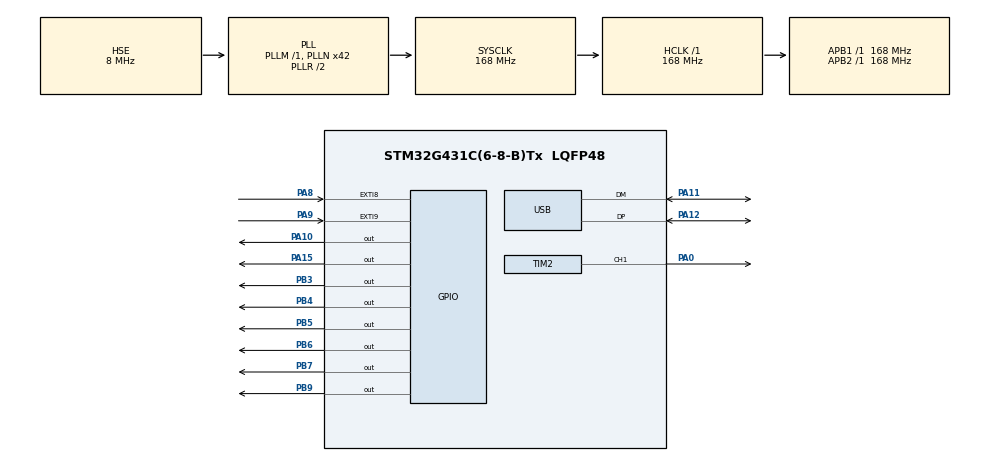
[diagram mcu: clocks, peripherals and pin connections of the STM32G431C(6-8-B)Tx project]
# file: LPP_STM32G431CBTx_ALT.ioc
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Dma.MEMTOMEM.0.Direction=DMA_MEMORY_TO_MEMORY
Dma.MEMTOMEM.0.EventEnable=DISABLE
Dma.MEMTOMEM.0.Instance=DMA1_Channel1
Dma.MEMTOMEM.0.MemDataAlignment=DMA_MDATAALIGN_BYTE
Dma.MEMTOMEM.0.MemInc=DMA_MINC_ENABLE
Dma.MEMTOMEM.0.Mode=DMA_NORMAL
Dma.MEMTOMEM.0.PeriphDataAlignment=DMA_PDATAALIGN_BYTE
Dma.MEMTOMEM.0.PeriphInc=DMA_PINC_ENABLE
Dma.MEMTOMEM.0.Polarity=HAL_DMAMUX_REQ_GEN_RISING
Dma.MEMTOMEM.0.Priority=DMA_PRIORITY_LOW
Dma.MEMTOMEM.0.RequestNumber=1
Dma.MEMTOMEM.0.SignalID=NONE
Dma.MEMTOMEM.0.SyncEnable=DISABLE
Dma.MEMTOMEM.0.SyncPolarity=HAL_DMAMUX_SYNC_NO_EVENT
Dma.MEMTOMEM.0.SyncRequestNumber=1
Dma.MEMTOMEM.0.SyncSignalID=NONE
Dma.Request0=MEMTOMEM
Mcu.Family=STM32G4
Mcu.Name=STM32G431C(6-8-B)Tx
Mcu.Package=LQFP48
NVIC.DMA1_Channel1_IRQn=true\:2\:0\:true\:false\:true\:true\:true\:true
NVIC.EXTI9_5_IRQn=true\:1\:0\:true\:false\:true\:true\:true\:true
NVIC.PriorityGroup=NVIC_PRIORITYGROUP_4
NVIC.TIM2_IRQn=true\:4\:0\:true\:false\:true\:true\:true\:true
NVIC.TIM3_IRQn=true\:1\:0\:true\:false\:true\:true\:true\:true
NVIC.TIM4_IRQn=true\:2\:0\:true\:false\:true\:true\:true\:true
NVIC.USB_LP_IRQn=true\:0\:0\:false\:false\:true\:false\:true\:true
PA0.Signal=S_TIM2_CH1
PA10.GPIO_PuPd=GPIO_PULLDOWN
PA10.Signal=GPIO_Output
PA11.Mode=Device
PA11.Signal=USB_DM
PA12.Mode=Device
PA12.Signal=USB_DP
PA13.Mode=Serial_Wire
PA13.Signal=SYS_JTMS-SWDIO
PA14.Mode=Serial_Wire
PA14.Signal=SYS_JTCK-SWCLK
PA15.Signal=GPIO_Output
PA8.GPIO_ModeDefaultEXTI=GPIO_MODE_IT_RISING_FALLING
PA8.Signal=GPXTI8
PA9.GPIO_ModeDefaultEXTI=GPIO_MODE_IT_RISING_FALLING
PA9.Signal=GPXTI9
PB3.Signal=GPIO_Output
PB4.Signal=GPIO_Output
PB5.Signal=GPIO_Output
PB6.Signal=GPIO_Output
PB7.GPIO_FM7=SYSCFG_FASTMODEPLUS_PB7
PB7.Signal=GPIO_Output
PB9.Signal=GPIO_Output
PC14-OSC32_IN.Mode=LSE-External-Oscillator
PC14-OSC32_IN.Signal=RCC_OSC32_IN
PC15-OSC32_OUT.Mode=LSE-External-Oscillator
PC15-OSC32_OUT.Signal=RCC_OSC32_OUT
PF0-OSC_IN.Mode=HSE-External-Oscillator
PF0-OSC_IN.Signal=RCC_OSC_IN
PF1-OSC_OUT.Mode=HSE-External-Oscillator
PF1-OSC_OUT.Signal=RCC_OSC_OUT
ProjectManager.HeapSize=0x200
ProjectManager.StackSize=0x400
ProjectManager.TargetToolchain=MDK-ARM V5.32
RCC.ADC12Freq_Value=168000000
RCC.AHBFreq_Value=168000000
RCC.APB1Freq_Value=168000000
RCC.APB1TimFreq_Value=168000000
RCC.APB2Freq_Value=168000000
RCC.APB2TimFreq_Value=168000000
RCC.CK48CLockSelection=RCC_USBCLKSOURCE_HSI48
RCC.CortexFreq_Value=168000000
RCC.EXTERNAL_CLOCK_VALUE=12288000
RCC.HCLKFreq_Value=168000000
RCC.HSE_VALUE=8000000
RCC.HSI48_VALUE=48000000
RCC.HSI_VALUE=16000000
RCC.PLLN=42
RCC.PLLSourceVirtual=RCC_PLLSOURCE_HSE
RCC.SYSCLKFreq_VALUE=168000000
RCC.SYSCLKSource=RCC_SYSCLKSOURCE_PLLCLK
RCC.USBFreq_Value=48000000
RCC.VCOOutputFreq_Value=336000000
SH.S_TIM2_CH1.0=TIM2_CH1,PWM Generation1 CH1
TIM2.Channel-PWM\ Generation1\ CH1=TIM_CHANNEL_1
TIM2.PeriodNoDither=100
TIM3.Prescaler=160
TIM4.PeriodNoDither=10000
TIM4.Prescaler=160
USB_DEVICE.CLASS_NAME_FS=CUSTOM_HID
USB_DEVICE.CUSTOM_HID_FS_BINTERVAL=1
USB_DEVICE.PID_CUSTOMHID_FS=0x573c
USB_DEVICE.USBD_CUSTOMHID_OUTREPORT_BUF_SIZE=64
USB_DEVICE.USBD_CUSTOM_HID_REPORT_DESC_SIZE=34
USB_DEVICE.USBD_LPM_ENABLED=0
USB_DEVICE.VID=0x462
USB_DEVICE.VirtualMode=CustomHid
USB_DEVICE.VirtualModeFS=Custom_Hid_FS
VP_SYS_VS_DBSignals.Mode=DisableDeadBatterySignals
VP_TIM2_VS_ClockSourceINT.Mode=Internal
VP_TIM3_VS_ClockSourceINT.Mode=Internal
VP_TIM4_VS_ClockSourceINT.Mode=Internal
VP_TIM4_VS_OPM.Mode=OPM_bit
VP_USB_DEVICE_VS_USB_DEVICE_CUSTOM_HID_FS.Mode=CUSTOM_HID_FS
board=custom

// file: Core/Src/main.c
/* USER CODE BEGIN Header */
/**
 ******************************************************************************
 * @file           : main.c
 * @brief          : Main program body
 ******************************************************************************
 * @attention
 *
 * Copyright (c) 2025 STMicroelectronics.
 * All rights reserved.
 *
 * This software is licensed under terms that can be found in the LICENSE file
 * in the root directory of this software component.
 * If no LICENSE file comes with this software, it is provided AS-IS.
 *
 ******************************************************************************
 */
/* USER CODE END Header */
#include "main.h"

#include "usb_device.h"

/* USER CODE BEGIN Includes */

#include <math.h>
#include <stdbool.h>

#include "counter.h"
#include "lpp_sdk.h"
#include "stdio.h"

/* USER CODE END Includes */

TIM_HandleTypeDef htim2;
TIM_HandleTypeDef htim3;
TIM_HandleTypeDef htim4;

DMA_HandleTypeDef hdma_memtomem_dma1_channel1;
/* USER CODE BEGIN PV */

void XferCpltCallback(DMA_HandleTypeDef* hdma);

// ============================================================================
// Сигнатура и версия прошивки (APP)
// ============================================================================
const uint32_t APP_KEY0 __attribute__((section(APP_KEY0_SECTION))) = APP_SIG_KEY0;
const uint32_t APP_KEY1 __attribute__((section(APP_KEY1_SECTION))) = APP_SIG_KEY1;
const uint32_t APP_KEY2 __attribute__((section(APP_KEY2_SECTION))) = APP_SIG_KEY2;
const uint32_t APP_KEY3 __attribute__((section(APP_KEY3_SECTION))) = APP_SIG_KEY3;

const uint32_t APP_VER_F __attribute__((section(APP_VER_F_SECTION))) = APP_VERSION;

// ---------------------------------------------------------------------------
// Глобальные переменные
// ---------------------------------------------------------------------------

// Пины H-моста
// Порт
#define HBRIDGE_PORT GPIOB
// H-мост (4 ключа)
#define MOS_HO_L GPIO_PIN_9  // Верхний левый
#define MOS_HO_R GPIO_PIN_6  // Верхний правый
#define MOS_LO_L GPIO_PIN_5  // Нижний левый
#define MOS_LO_R GPIO_PIN_3  // Нижний правый

// Глобальные переменные
TIM_HandleTypeDef htim1;
volatile int32_t pwm_value = 0;  // -5000 ... +5000

/* USER CODE END PV */

void SystemClock_Config(void);
static void MX_GPIO_Init(void);
static void MX_DMA_Init(void);
static void MX_TIM2_Init(void);
static void MX_TIM3_Init(void);
static void MX_TIM4_Init(void);

int main(void) {

    /* MCU Configuration--------------------------------------------------------*/

    /* Reset of all peripherals, Initializes the Flash interface and the Systick. */
    HAL_Init();

    /* Configure the system clock */
    SystemClock_Config();

    /* Initialize all configured peripherals */
    MX_GPIO_Init();
    MX_DMA_Init();
    MX_USB_Device_Init();
    MX_TIM2_Init();
    MX_TIM3_Init();
    MX_TIM4_Init();
    /* USER CODE BEGIN 2 */
    // Инициализация

    Lpp_Init();

    // Запуск таймеров
    HAL_TIM_Base_Start_IT(&htim4);
    // Запуск ШИМ Лазера PA1
    HAL_TIM_PWM_Start(&htim2, TIM_CHANNEL_1);  // Лазер

    // Инициализация USB
    USB->BCDR &= ~USB_BCDR_DPPU; // DPPU = 0 → подтяжка DP отключена
//    HAL_GPIO_WritePin(GPIOA, GPIO_PIN_10, GPIO_PIN_RESET);  // Выключение USB
    HAL_Delay(2000);
//    HAL_GPIO_WritePin(GPIOA, GPIO_PIN_10, GPIO_PIN_SET);  // Включение USB
    USB->BCDR |= USB_BCDR_DPPU; // DPPU = 1 → подтяжка DP включена

    HAL_DMA_RegisterCallback(&hdma_memtomem_dma1_channel1, HAL_DMA_XFER_CPLT_CB_ID, XferCpltCallback);

    /* USER CODE END 2 */

    /* Infinite loop */
    while (1) {

        /* USER CODE BEGIN 3 */
        Lpp_MainLoop();
    }
    /* USER CODE END 3 */
}

void SystemClock_Config(void) {
    RCC_OscInitTypeDef RCC_OscInitStruct = {0};
    RCC_ClkInitTypeDef RCC_ClkInitStruct = {0};

    /** Configure the main internal regulator output voltage
     */
    HAL_PWREx_ControlVoltageScaling(PWR_REGULATOR_VOLTAGE_SCALE1_BOOST);

    /** Initializes the RCC Oscillators according to the specified parameters
     * in the RCC_OscInitTypeDef structure.
     */
    RCC_OscInitStruct.OscillatorType = RCC_OSCILLATORTYPE_HSI48 | RCC_OSCILLATORTYPE_HSE;
    RCC_OscInitStruct.HSEState = RCC_HSE_ON;
    RCC_OscInitStruct.HSI48State = RCC_HSI48_ON;
    RCC_OscInitStruct.PLL.PLLState = RCC_PLL_ON;
    RCC_OscInitStruct.PLL.PLLSource = RCC_PLLSOURCE_HSE;
    RCC_OscInitStruct.PLL.PLLM = RCC_PLLM_DIV1;
    RCC_OscInitStruct.PLL.PLLN = 42;
    RCC_OscInitStruct.PLL.PLLP = RCC_PLLP_DIV2;
    RCC_OscInitStruct.PLL.PLLQ = RCC_PLLQ_DIV2;
    RCC_OscInitStruct.PLL.PLLR = RCC_PLLR_DIV2;
    if (HAL_RCC_OscConfig(&RCC_OscInitStruct) != HAL_OK) {
        Error_Handler();
    }

    /** Initializes the CPU, AHB and APB buses clocks
     */
    RCC_ClkInitStruct.ClockType =
        RCC_CLOCKTYPE_HCLK | RCC_CLOCKTYPE_SYSCLK | RCC_CLOCKTYPE_PCLK1 | RCC_CLOCKTYPE_PCLK2;
    RCC_ClkInitStruct.SYSCLKSource = RCC_SYSCLKSOURCE_PLLCLK;
    RCC_ClkInitStruct.AHBCLKDivider = RCC_SYSCLK_DIV1;
    RCC_ClkInitStruct.APB1CLKDivider = RCC_HCLK_DIV1;
    RCC_ClkInitStruct.APB2CLKDivider = RCC_HCLK_DIV1;

    if (HAL_RCC_ClockConfig(&RCC_ClkInitStruct, FLASH_LATENCY_4) != HAL_OK) {
        Error_Handler();
    }
}

static void MX_TIM2_Init(void) {

    TIM_ClockConfigTypeDef sClockSourceConfig = {0};
    TIM_MasterConfigTypeDef sMasterConfig = {0};
    TIM_OC_InitTypeDef sConfigOC = {0};

    htim2.Instance = TIM2;
    htim2.Init.Prescaler = 0;
    htim2.Init.CounterMode = TIM_COUNTERMODE_UP;
    htim2.Init.Period = 100;
    htim2.Init.ClockDivision = TIM_CLOCKDIVISION_DIV1;
    htim2.Init.AutoReloadPreload = TIM_AUTORELOAD_PRELOAD_DISABLE;
    if (HAL_TIM_Base_Init(&htim2) != HAL_OK) {
        Error_Handler();
    }
    sClockSourceConfig.ClockSource = TIM_CLOCKSOURCE_INTERNAL;
    if (HAL_TIM_ConfigClockSource(&htim2, &sClockSourceConfig) != HAL_OK) {
        Error_Handler();
    }
    if (HAL_TIM_PWM_Init(&htim2) != HAL_OK) {
        Error_Handler();
    }
    sMasterConfig.MasterOutputTrigger = TIM_TRGO_RESET;
    sMasterConfig.MasterSlaveMode = TIM_MASTERSLAVEMODE_DISABLE;
    if (HAL_TIMEx_MasterConfigSynchronization(&htim2, &sMasterConfig) != HAL_OK) {
        Error_Handler();
    }
    sConfigOC.OCMode = TIM_OCMODE_PWM1;
    sConfigOC.Pulse = 0;
    sConfigOC.OCPolarity = TIM_OCPOLARITY_HIGH;
    sConfigOC.OCFastMode = TIM_OCFAST_DISABLE;
    if (HAL_TIM_PWM_ConfigChannel(&htim2, &sConfigOC, TIM_CHANNEL_1) != HAL_OK) {
        Error_Handler();
    }
    HAL_TIM_MspPostInit(&htim2);
}

static void MX_TIM3_Init(void) {

    TIM_ClockConfigTypeDef sClockSourceConfig = {0};
    TIM_MasterConfigTypeDef sMasterConfig = {0};

    htim3.Instance = TIM3;
    htim3.Init.Prescaler = 160;
    htim3.Init.CounterMode = TIM_COUNTERMODE_UP;
    htim3.Init.Period = 65535;
    htim3.Init.ClockDivision = TIM_CLOCKDIVISION_DIV1;
    htim3.Init.AutoReloadPreload = TIM_AUTORELOAD_PRELOAD_DISABLE;
    if (HAL_TIM_Base_Init(&htim3) != HAL_OK) {
        Error_Handler();
    }
    sClockSourceConfig.ClockSource = TIM_CLOCKSOURCE_INTERNAL;
    if (HAL_TIM_ConfigClockSource(&htim3, &sClockSourceConfig) != HAL_OK) {
        Error_Handler();
    }
    sMasterConfig.MasterOutputTrigger = TIM_TRGO_RESET;
    sMasterConfig.MasterSlaveMode = TIM_MASTERSLAVEMODE_DISABLE;
    if (HAL_TIMEx_MasterConfigSynchronization(&htim3, &sMasterConfig) != HAL_OK) {
        Error_Handler();
    }
}

static void MX_TIM4_Init(void) {

    TIM_ClockConfigTypeDef sClockSourceConfig = {0};
    TIM_MasterConfigTypeDef sMasterConfig = {0};

    htim4.Instance = TIM4;
    htim4.Init.Prescaler = 160;
    htim4.Init.CounterMode = TIM_COUNTERMODE_UP;
    htim4.Init.Period = 10000;
    htim4.Init.ClockDivision = TIM_CLOCKDIVISION_DIV1;
    htim4.Init.AutoReloadPreload = TIM_AUTORELOAD_PRELOAD_DISABLE;
    if (HAL_TIM_Base_Init(&htim4) != HAL_OK) {
        Error_Handler();
    }
    sClockSourceConfig.ClockSource = TIM_CLOCKSOURCE_INTERNAL;
    if (HAL_TIM_ConfigClockSource(&htim4, &sClockSourceConfig) != HAL_OK) {
        Error_Handler();
    }
    if (HAL_TIM_OnePulse_Init(&htim4, TIM_OPMODE_SINGLE) != HAL_OK) {
        Error_Handler();
    }
    sMasterConfig.MasterOutputTrigger = TIM_TRGO_RESET;
    sMasterConfig.MasterSlaveMode = TIM_MASTERSLAVEMODE_DISABLE;
    if (HAL_TIMEx_MasterConfigSynchronization(&htim4, &sMasterConfig) != HAL_OK) {
        Error_Handler();
    }
}

static void MX_DMA_Init(void) {
    /* DMA controller clock enable */
    __HAL_RCC_DMAMUX1_CLK_ENABLE();
    __HAL_RCC_DMA1_CLK_ENABLE();

    /* Configure DMA request hdma_memtomem_dma1_channel1 on DMA1_Channel1 */
    hdma_memtomem_dma1_channel1.Instance = DMA1_Channel1;
    hdma_memtomem_dma1_channel1.Init.Request = DMA_REQUEST_MEM2MEM;
    hdma_memtomem_dma1_channel1.Init.Direction = DMA_MEMORY_TO_MEMORY;
    hdma_memtomem_dma1_channel1.Init.PeriphInc = DMA_PINC_ENABLE;
    hdma_memtomem_dma1_channel1.Init.MemInc = DMA_MINC_ENABLE;
    hdma_memtomem_dma1_channel1.Init.PeriphDataAlignment = DMA_PDATAALIGN_BYTE;
    hdma_memtomem_dma1_channel1.Init.MemDataAlignment = DMA_MDATAALIGN_BYTE;
    hdma_memtomem_dma1_channel1.Init.Mode = DMA_NORMAL;
    hdma_memtomem_dma1_channel1.Init.Priority = DMA_PRIORITY_LOW;
    if (HAL_DMA_Init(&hdma_memtomem_dma1_channel1) != HAL_OK) {
        Error_Handler();
    }

    /* DMA interrupt init */
    /* DMA1_Channel1_IRQn interrupt configuration */
    HAL_NVIC_SetPriority(DMA1_Channel1_IRQn, 2, 0);
    HAL_NVIC_EnableIRQ(DMA1_Channel1_IRQn);
}

static void MX_GPIO_Init(void) {
    GPIO_InitTypeDef GPIO_InitStruct = {0};

    /* GPIO Ports Clock Enable */
    __HAL_RCC_GPIOC_CLK_ENABLE();
    __HAL_RCC_GPIOF_CLK_ENABLE();
    __HAL_RCC_GPIOA_CLK_ENABLE();
    __HAL_RCC_GPIOB_CLK_ENABLE();

    /*Configure GPIO pin Output Level */
    HAL_GPIO_WritePin(GPIOA, GPIO_PIN_10 | GPIO_PIN_15, GPIO_PIN_RESET);

    /*Configure GPIO pin Output Level */
    HAL_GPIO_WritePin(GPIOB, GPIO_PIN_3 | GPIO_PIN_4 | GPIO_PIN_5 | GPIO_PIN_6 | GPIO_PIN_7 | GPIO_PIN_9,
                      GPIO_PIN_RESET);

    /*Configure GPIO pins : PA8 PA9 */
    GPIO_InitStruct.Pin = GPIO_PIN_8 | GPIO_PIN_9;
    GPIO_InitStruct.Mode = GPIO_MODE_IT_RISING_FALLING;
    GPIO_InitStruct.Pull = GPIO_NOPULL;
    HAL_GPIO_Init(GPIOA, &GPIO_InitStruct);

    /*Configure GPIO pin : PA10 */
    GPIO_InitStruct.Pin = GPIO_PIN_10;
    GPIO_InitStruct.Mode = GPIO_MODE_OUTPUT_PP;
    GPIO_InitStruct.Pull = GPIO_PULLDOWN;
    GPIO_InitStruct.Speed = GPIO_SPEED_FREQ_LOW;
    HAL_GPIO_Init(GPIOA, &GPIO_InitStruct);

    /*Configure GPIO pin : PA15 */
    GPIO_InitStruct.Pin = GPIO_PIN_15;
    GPIO_InitStruct.Mode = GPIO_MODE_OUTPUT_PP;
    GPIO_InitStruct.Pull = GPIO_NOPULL;
    GPIO_InitStruct.Speed = GPIO_SPEED_FREQ_LOW;
    HAL_GPIO_Init(GPIOA, &GPIO_InitStruct);

    /*Configure GPIO pins : PB3 PB4 PB5 PB6
                             PB7 PB9 */
    GPIO_InitStruct.Pin = GPIO_PIN_3 | GPIO_PIN_4 | GPIO_PIN_5 | GPIO_PIN_6 | GPIO_PIN_7 | GPIO_PIN_9;
    GPIO_InitStruct.Mode = GPIO_MODE_OUTPUT_PP;
    GPIO_InitStruct.Pull = GPIO_NOPULL;
    GPIO_InitStruct.Speed = GPIO_SPEED_FREQ_LOW;
    HAL_GPIO_Init(GPIOB, &GPIO_InitStruct);

    /**/
    __HAL_SYSCFG_FASTMODEPLUS_ENABLE(SYSCFG_FASTMODEPLUS_PB7);

    /* EXTI interrupt init*/
    HAL_NVIC_SetPriority(EXTI9_5_IRQn, 1, 0);
    HAL_NVIC_EnableIRQ(EXTI9_5_IRQn);

}

/* USER CODE BEGIN 4 */

// ============================================================================
// Отправка 64-байтного пакета хосту (используется SDK)
// ============================================================================
extern uint8_t USBD_CUSTOM_HID_SendReport(USBD_HandleTypeDef* pdev, uint8_t* report, uint16_t len);
extern USBD_HandleTypeDef hUsbDeviceFS;

uint8_t PacketSend(uint8_t* buffer) {
    // Отправка HID отчёта (64 байта)
    return USBD_CUSTOM_HID_SendReport(&hUsbDeviceFS, buffer, 64);
}

// ============================================================================
// MotorX_Init — инициализация таймера и GPIO для оси X
// Поддерживаются 3 режима работы двигателя:
//   1) X_MOTOR_MODE_STEP      — Шаговый двигатель (STEP + DIR)
//   2) X_MOTOR_MODE_ONE_PWM   — Один ШИМ + DIR
//   3) X_MOTOR_MODE_TWO_PWM   — Два ШИМ (Dual H-Bridge)
// В любом режиме пин PB15 (ENABLE) используется как выход, активный уровень
// задаётся при настройке, но здесь он просто включается.
// ============================================================================
// void XMotorInit(X_MOTOR_MODE_T mode)
//{
//    // Защита от повторной инициализации
//    static X_MOTOR_MODE_T current_mode = (X_MOTOR_MODE_T)(-1);
//    if (current_mode == mode) return;
//    current_mode = mode;

//    // GPIO
//    __HAL_RCC_GPIOB_CLK_ENABLE();
//    GPIO_InitTypeDef gpio = {0};
//    gpio.Pin = HBRIDGE_PIN_LEFT | HBRIDGE_PIN_RIGHT;
//    gpio.Mode = GPIO_MODE_OUTPUT_PP;
//    gpio.Pull = GPIO_NOPULL;
//    gpio.Speed = GPIO_SPEED_FREQ_HIGH;
//    HAL_GPIO_Init(HBRIDGE_PORT, &gpio);
//    HAL_GPIO_WritePin(HBRIDGE_PORT, HBRIDGE_PIN_LEFT | HBRIDGE_PIN_RIGHT, GPIO_PIN_RESET);

//    // TIM1: 160 MHz → делитель 31 → ~5.161 MHz, ARR=5000 → ~1.032 кГц
//    __HAL_RCC_TIM1_CLK_ENABLE();
//    htim1.Instance = TIM1;
//    htim1.Init.Prescaler = 30;        // (30 + 1) = 31
//    htim1.Init.CounterMode = TIM_COUNTERMODE_UP;
//    htim1.Init.Period = 5000;         // 0 ... 5000 → 5001 такт
//    htim1.Init.ClockDivision = TIM_CLOCKDIVISION_DIV1;
//    htim1.Init.RepetitionCounter = 0;
//    htim1.Init.AutoReloadPreload = TIM_AUTORELOAD_PRELOAD_DISABLE;
//    HAL_TIM_Base_Init(&htim1);

//    // Прерывания (STM32G4)
//    HAL_NVIC_SetPriority(TIM1_UP_TIM16_IRQn, 1, 0);
//    HAL_NVIC_EnableIRQ(TIM1_UP_TIM16_IRQn);

//    HAL_NVIC_SetPriority(TIM1_CC_IRQn, 1, 1);
//    HAL_NVIC_EnableIRQ(TIM1_CC_IRQn);

//    HAL_TIM_Base_Start_IT(&htim1);
//}

void XMotorInit(X_MOTOR_MODE_T mode) {
    static X_MOTOR_MODE_T current_mode = (X_MOTOR_MODE_T)(-1);
    if (current_mode == mode) return;
    current_mode = mode;

    // спад PWM → всё OFF
    HAL_GPIO_WritePin(HBRIDGE_PORT, MOS_HO_L | MOS_HO_R | MOS_LO_L | MOS_LO_R, GPIO_PIN_RESET);

    __HAL_RCC_TIM1_CLK_ENABLE();
    htim1.Instance = TIM1;
    htim1.Init.Prescaler = 30;
    htim1.Init.CounterMode = TIM_COUNTERMODE_UP;
    htim1.Init.Period = 5000;
    htim1.Init.ClockDivision = TIM_CLOCKDIVISION_DIV1;
    htim1.Init.RepetitionCounter = 0;
    htim1.Init.AutoReloadPreload = TIM_AUTORELOAD_PRELOAD_DISABLE;
    HAL_TIM_Base_Init(&htim1);

    // КЛЮЧЕВАЯ СТРОКА для TIM1:
    TIM1->BDTR |= TIM_BDTR_MOE;

    HAL_NVIC_SetPriority(TIM1_UP_TIM16_IRQn, 1, 0);
    HAL_NVIC_EnableIRQ(TIM1_UP_TIM16_IRQn);
    HAL_NVIC_SetPriority(TIM1_CC_IRQn, 1, 1);
    HAL_NVIC_EnableIRQ(TIM1_CC_IRQn);

    // НЕ вызываем HAL_TIM_Base_Start_IT()
    // Вместо этого включаем вручную:
    __HAL_TIM_ENABLE_IT(&htim1, TIM_IT_UPDATE);
    __HAL_TIM_ENABLE_IT(&htim1, TIM_IT_CC1);
    __HAL_TIM_ENABLE(&htim1);
}

void XMotorSet(int power) {
    if (power > 5000) power = 5000;
    if (power < -5000) power = -5000;

    pwm_value = (W_X_POL_PWM == 0) ? power : -power;
}

__STATIC_INLINE void HBridgeDeadTime(void) {
    volatile int i;
    for (i = 0; i < 100; i++)  // ~1 µs
    {
        __NOP();
    }
}

void TIM1_UP_TIM16_IRQHandler(void) {
    if (__HAL_TIM_GET_FLAG(&htim1, TIM_FLAG_UPDATE) && __HAL_TIM_GET_IT_SOURCE(&htim1, TIM_IT_UPDATE)) {
        __HAL_TIM_CLEAR_IT(&htim1, TIM_IT_UPDATE);

        // PID / логика оси
        XTimerCallback();

        // 1) ВСЁ ВЫКЛ
        HAL_GPIO_WritePin(HBRIDGE_PORT, MOS_HO_L | MOS_HO_R | MOS_LO_L | MOS_LO_R, GPIO_PIN_RESET);

        // 2) dead-time
        HBridgeDeadTime();

        // 3) отключаем Compare
        __HAL_TIM_DISABLE_IT(&htim1, TIM_IT_CC1);

        if (pwm_value == 0) {
            return;  // coast
        }

        uint32_t abs_val = (pwm_value > 0) ? (uint32_t)pwm_value : (uint32_t)(-pwm_value);

        TIM1->CCR1 = abs_val;

        // 4) включаем Compare если не 100%
        if (abs_val < 5000) {
            __HAL_TIM_ENABLE_IT(&htim1, TIM_IT_CC1);
        }

        // 5) включаем ТОЛЬКО одну диагональ
        if (pwm_value > 0) {
            // Forward
            HAL_GPIO_WritePin(HBRIDGE_PORT, MOS_LO_L, GPIO_PIN_SET);
            HAL_GPIO_WritePin(HBRIDGE_PORT, MOS_HO_R, GPIO_PIN_SET);
        } else {
            // Reverse
            HAL_GPIO_WritePin(HBRIDGE_PORT, MOS_LO_R, GPIO_PIN_SET);
            HAL_GPIO_WritePin(HBRIDGE_PORT, MOS_HO_L, GPIO_PIN_SET);
        }
    }
}

void TIM1_CC_IRQHandler(void) {
    if (__HAL_TIM_GET_FLAG(&htim1, TIM_FLAG_CC1) && __HAL_TIM_GET_IT_SOURCE(&htim1, TIM_IT_CC1)) {
        __HAL_TIM_CLEAR_IT(&htim1, TIM_IT_CC1);

        // спад PWM → всё OFF
        HAL_GPIO_WritePin(HBRIDGE_PORT, MOS_HO_L | MOS_HO_R | MOS_LO_L | MOS_LO_R, GPIO_PIN_RESET);
    }
}

/**
 * @brief Callback обработки переполнения таймера
 * @param htim Указатель на обработчик таймера
 * @retval None
 */
void HAL_TIM_PeriodElapsedCallback(TIM_HandleTypeDef* htim) {
    // TIM3 - Интерполяция печати
    if (htim->Instance == TIM3) {
        // SDK вариант: один шаг интерполяции
        if (XInterpTimerCallback() == 0) {
            // Возврат 0 означает, что серия интерполяции завершена
            HAL_TIM_Base_Stop_IT(&htim3);
            TIM3->CNT = 0;  // Сброс счетчика
        }
    }

    // TIM4 - Управление осью Y
    if (htim->Instance == TIM4) {
        YTimerCallback();
    }
}

// Управление ENABLE пином оси X (в этой распиновке нету)
void XTimerSet(uint16_t period) {}
// Степер оси X (в этой распиновке нету)
void XSetDir(uint8_t dir_pin_state) {}
void XSetEnable(uint8_t enabled) {}
void XSetStep(uint8_t step_pin_state) {}

// Двигатели Y

void YSetEnable(uint8_t enabled) {
    GPIO_PinState st = enabled ? GPIO_PIN_SET : GPIO_PIN_RESET;
    HAL_GPIO_WritePin(GPIOA, GPIO_PIN_15, st);  // Ось Y
}

void YSetDir(uint8_t dir_pin_state) {
    HAL_GPIO_WritePin(GPIOB, GPIO_PIN_4, dir_pin_state ? GPIO_PIN_SET : GPIO_PIN_RESET);
}

void YSetStep(uint8_t step_pin_state) {
    HAL_GPIO_WritePin(GPIOB, GPIO_PIN_7, step_pin_state ? GPIO_PIN_SET : GPIO_PIN_RESET);
}

void YTimerSet(uint16_t period) {
    __HAL_TIM_SET_AUTORELOAD(&htim4, period);
    __HAL_TIM_ENABLE(&htim4);
}

// Установка мощности лазера (TIM2 CH1)
void SetLaserPWM(uint16_t pwm_value) { __HAL_TIM_SET_COMPARE(&htim2, TIM_CHANNEL_1, pwm_value); }

// Установка мощности подсветки (в этой распиновке нету)
void SetLightPWM(uint16_t pwm_value) {}

/**
 * @brief  Настраивает частоту PWM по значению в герцах (универсально для всех STM32).
 * @param  freq_hz  Желаемая частота PWM, Гц (например 1000, 5000, 100000).
 *
 * Функция автоматически вычисляет нужный делитель (PSC) на основе частоты шины таймера.
 * Работает одинаково для разных частот системного тактирования и серий MCU
 * (STM32F0, F1, F2, F3, F4, G0, G4, H7, L0, L1, L4, L5, WB, WL и др.).
 *
 * Учитывает важную особенность тактирования таймеров STM32:
 * - Если прескалер APBx = 1, то частота таймера = частота шины APBx
 * - Если прескалер APBx > 1, то частота таймера = частота шины APBx × 2
 *
 * Пример: если SYSCLK = 72 MHz, APB1 prescaler = /2, freq_hz = 20 kHz, ARR = 99:
 *         PCLK1 = 36 MHz, но TIM_CLK = 72 MHz (удвоение!)
 *         PSC = (72_000_000 / (100 × 20_000)) - 1 = 35
 */
void SetLaserLightPWMFrequency(uint32_t freq_hz) {
    // Получаем базовую частоту шины APB1
    uint32_t pclk1 = HAL_RCC_GetPCLK1Freq();

    // Извлекаем биты прескалера APB1 из регистра конфигурации тактирования
    // Расположение битов PPRE1 зависит от серии MCU
    uint32_t ppre1_bits;

    // STM32F0/F1/F2/F3/F4/G0/G4/L0/L1/L4/L5/WB/WL: биты PPRE1 в RCC->CFGR
    ppre1_bits = (RCC->CFGR & RCC_CFGR_PPRE1) >> RCC_CFGR_PPRE1_Pos;

    // Определяем реальную частоту тактирования таймера
    // Кодировка битов PPRE1[2:0]:
    // 0xx (0-3): нет деления (APB prescaler = 1)    → TIM_CLK = PCLK1
    // 100 (4):   деление на 2 (APB prescaler = 2)   → TIM_CLK = PCLK1 × 2
    // 101 (5):   деление на 4 (APB prescaler = 4)   → TIM_CLK = PCLK1 × 2
    // 110 (6):   деление на 8 (APB prescaler = 8)   → TIM_CLK = PCLK1 × 2
    // 111 (7):   деление на 16 (APB prescaler = 16) → TIM_CLK = PCLK1 × 2
    uint32_t tim_clk;
    if (ppre1_bits >= 4) {
        // APB1 prescaler >= 2: таймер получает удвоенную частоту шины
        tim_clk = pclk1 * 2;
    } else {
        // APB1 prescaler = 1: таймер тактируется напрямую от шины
        tim_clk = pclk1;
    }

    // Устанавливаем значение ARR (Auto-Reload Register) — определяет период счёта.
    // ARR = 99 даёт 100 шагов ШИМ (0-99), что удобно для процентного управления (1% = 1 шаг).
    uint32_t arr = 100 - 1;

    // Вычисляем делитель частоты (Prescaler) по формуле:
    // f_PWM = TIM_CLK / ((PSC + 1) × (ARR + 1))
    // Отсюда: PSC = (TIM_CLK / ((ARR + 1) × f_PWM)) - 1
    uint32_t prescaler = (tim_clk / (arr + 1)) / freq_hz;

    // Защита от выхода за допустимые значения 16-битного регистра PSC (0-65535)
    if (prescaler < 1) prescaler = 1;
    if (prescaler > 65535) prescaler = 65535;

    // Применяем вычисленные параметры к таймеру через макросы HAL
    __HAL_TIM_SET_PRESCALER(&htim2, prescaler - 1);  // PSC (вычитаем 1, т.к. регистр работает как (PSC+1))
    __HAL_TIM_SET_AUTORELOAD(&htim2, arr);           // ARR (период счёта)

    // Генерируем событие обновления (Update Event) для немедленного применения новых значений PSC и ARR.
    // Без этого изменения вступят в силу только после переполнения счётчика.
    htim2.Instance->EGR = TIM_EGR_UG;

    // Сбрасываем счётчик таймера в 0 для стабильного старта с новыми параметрами
    __HAL_TIM_SET_COUNTER(&htim2, 0);
}

// Энкодеры
uint16_t ReadEncoderPins(void) {
    // Читаем состояние пинов энкодера на порту B
    return X_ENCODER_PORT->IDR & (ENCODER_A_PIN | ENCODER_B_PIN);
}

void XInterpTimerStart(uint32_t period) {
    // Старт интерполяционого таймера
    TIM3->ARR = period;          // Установка периода
    TIM3->SR &= ~TIM_SR_UIF;     // Сброс флага прерывания
    TIM3->DIER |= TIM_DIER_UIE;  // Разрешение прерывания
    TIM3->CR1 |= TIM_CR1_CEN;    // Запуск таймера
}

// ============================================================================
// Запуск DMA для копирования блока данных FIFO (вызывается из SDK)
// ============================================================================
void FIFO_DATA_StartDma(uint32_t src_addr, uint32_t dst_addr, uint16_t size) {
    HAL_DMA_Start_IT(&hdma_memtomem_dma1_channel1, src_addr, dst_addr,
                     size  // передаём размер извне
    );
}

/**
 * @brief Callback обработки внешних прерываний (энкодер)
 * @param GPIO_Pin Пин, вызвавший прерывание
 * @retval None
 */
void HAL_GPIO_EXTI_Callback(uint16_t GPIO_Pin) { XEncoderCallback(GPIO_Pin); }

/**
 * @brief Callback завершения DMA передачи
 * @param hdma Указатель на структуру DMA
 * @retval None
 */
void XferCpltCallback(DMA_HandleTypeDef* hdma) {
    if (hdma == &hdma_memtomem_dma1_channel1) {
        FIFO_DATA_EndDma();
    }
}

/* USER CODE END 4 */

void Error_Handler(void) {
    __disable_irq();
    while (1) {
    }
}
